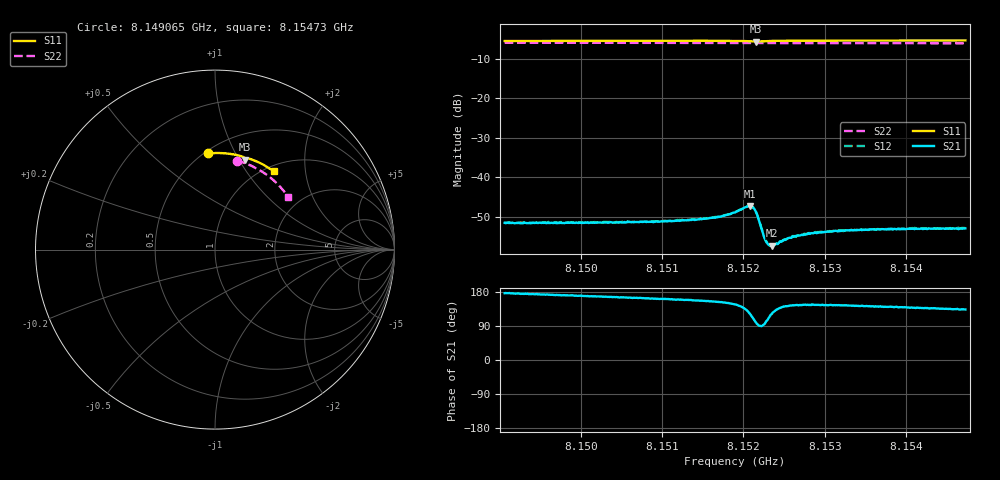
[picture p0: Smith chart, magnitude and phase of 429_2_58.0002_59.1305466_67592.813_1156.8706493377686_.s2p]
#  HZ  S  RI  R  50.00
! Rohde & Schwarz Vector Network Analyzer
! Rohde-Schwarz,ZNB20-2Port,1311601062101988,3.16
! Created: UTC 3/21/2024, 1:09:28 AM
! freq[Hz]  re:S11  im:S11  re:S21  im:S21  re:S12  im:S12  re:S22  im:S22
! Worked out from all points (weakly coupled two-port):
!   401 points, 8.149065 GHz to 8.15473 GHz, reference 50 ohm
!   highest |S21| = -47.27 dB at 8.152082 GHz (marker M1); lowest = -57.4 dB at 8.152351 GHz (marker M2)
!   lowest |S11| = -5.6 dB at 8.152152 GHz (marker M3), VSWR 3.24, Z = 38.1 + j52.9 ohm
!   |S11| at or under -10 dB: nowhere
!   |S22| runs from -6.0 to -5.8 dB; largest |S21 - S12| = 0.00012
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8.1490649e9  -0.0399 0.5355  -0.00263 0.000173  -0.00265 0.00022  0.1207 0.4963
8.1500138e9  0.0261 0.5379  -0.00257 0.000477  -0.0026 0.000552  0.1789 0.4772
8.1509628e9  0.0921 0.5322  -0.00258 0.000888  -0.00258 0.000926  0.2339 0.4511
8.1515151e9  0.1307 0.5247  -0.00272 0.00121  -0.00272 0.00126  0.2644 0.4331
8.1516993e9  0.1439 0.5211  -0.00279 0.00141  -0.00281 0.00146  0.2741 0.4266
8.1518976e9  0.1587 0.5156  -0.00299 0.00195  -0.00299 0.00204  0.2843 0.4192
8.1520392e9  0.1685 0.5074  -0.0028 0.00313  -0.00277 0.0032  0.2916 0.4137
8.1520817e9  0.1692 0.5037  -0.00228 0.00368  -0.00223 0.00375  0.2937 0.4121
8.1521242e9  0.1677 0.5009  -0.00131 0.00385  -0.00127 0.00393  0.2957 0.4105
8.1521525e9  0.1661 0.5009  -0.000618 0.00363  -0.000559 0.00365  0.2971 0.4095
8.1521808e9  0.1653 0.5024  -0.000157 0.00307  -0.000128 0.00311  0.2984 0.4085
8.1522516e9  0.1684 0.507  -0.000111 0.00179  -8.72e-05 0.00181  0.3019 0.406
8.15228e9  0.1709 0.5082  -0.000318 0.00148  -0.000269 0.00153  0.3034 0.4049
8.1523225e9  0.1747 0.5087  -0.000556 0.00124  -0.000526 0.00127  0.3055 0.4033
8.1523508e9  0.1772 0.5087  -0.000712 0.00115  -0.000684 0.00115  0.307 0.4021
8.1526057e9  0.1972 0.5045  -0.00144 0.00102  -0.00145 0.00106  0.3196 0.3918
8.1528465e9  0.2137 0.4987  -0.00164 0.00106  -0.00163 0.00111  0.331 0.3817
8.1531156e9  0.2314 0.4914  -0.0017 0.00119  -0.0017 0.00122  0.3435 0.3701
8.1534272e9  0.2512 0.4821  -0.00169 0.0013  -0.0017 0.00134  0.3571 0.3561
8.1537954e9  0.274 0.4703  -0.0017 0.00141  -0.00166 0.00138  0.3728 0.3389
8.1540787e9  0.2909 0.4607  -0.00165 0.00148  -0.00168 0.00152  0.384 0.3253
8.1547302e9  0.3284 0.4357  -0.00154 0.00163  -0.00155 0.00165  0.4082 0.2923
